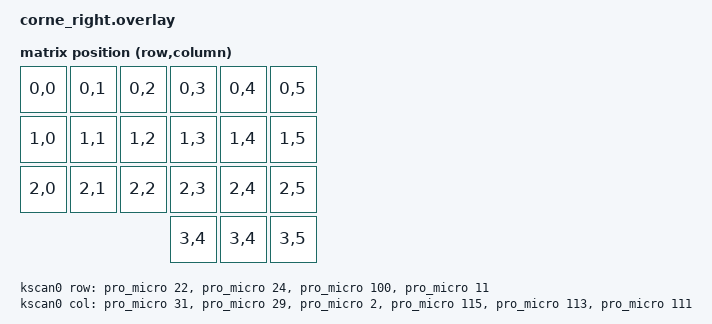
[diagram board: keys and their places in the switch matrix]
include <dt-bindings/zmk/matrix_transform.h>

/ {
    chosen {
        zmk,kscan = &kscan0;
        zmk,matrix-transform = &default_transform;
    };

    kscan0: kscan {
        compatible = "zmk,kscan-gpio-matrix";
        wakeup-source;

        diode-direction = "col2row";
        row-gpios
            = <&pro_micro 22 (GPIO_ACTIVE_HIGH | GPIO_PULL_DOWN)>
            , <&pro_micro 24 (GPIO_ACTIVE_HIGH | GPIO_PULL_DOWN)>
            , <&pro_micro 100 (GPIO_ACTIVE_HIGH | GPIO_PULL_DOWN)>
            , <&pro_micro 11 (GPIO_ACTIVE_HIGH | GPIO_PULL_DOWN)>
            ;
                                                                                                                                                                                    
        col-gpios
            = <&pro_micro 31 GPIO_ACTIVE_HIGH>
            , <&pro_micro 29 GPIO_ACTIVE_HIGH>
            , <&pro_micro 2 GPIO_ACTIVE_HIGH>
            , <&pro_micro 115 GPIO_ACTIVE_HIGH>
            , <&pro_micro 113 GPIO_ACTIVE_HIGH>
            , <&pro_micro 111 GPIO_ACTIVE_HIGH>
            ;
    };

    default_transform: keymap_transform_0 {
        compatible = "zmk,matrix-transform";
        columns = <6>;
        rows = <4>;
        map = <
          RC(0,0) RC(0,1) RC(0,2) RC(0,3) RC(0,4) RC(0,5)
          RC(1,0) RC(1,1) RC(1,2) RC(1,3) RC(1,4) RC(1,5)
          RC(2,0) RC(2,1) RC(2,2) RC(2,3) RC(2,4) RC(2,5)
                                  RC(3,4) RC(3,4) RC(3,5)
        >;
    };
};

